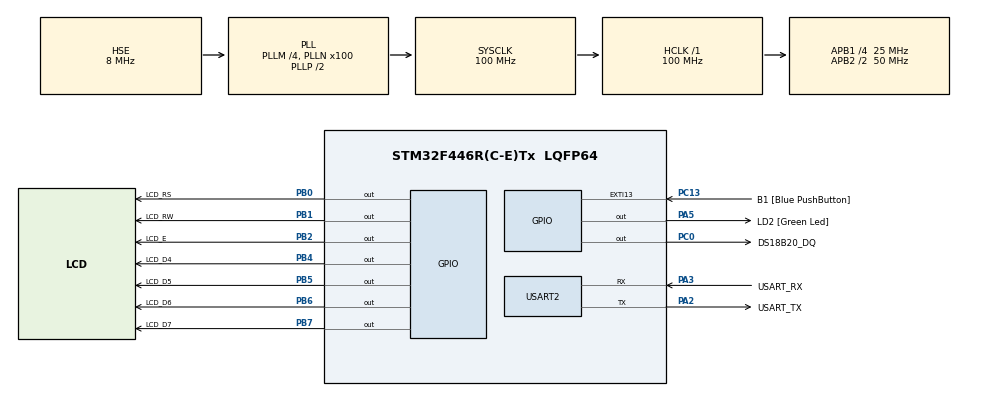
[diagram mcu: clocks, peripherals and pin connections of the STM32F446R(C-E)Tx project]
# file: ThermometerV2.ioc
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Mcu.Family=STM32F4
PH0-OSC_IN.Signal=RCC_OSC_IN
RCC.CortexFreq_Value=100000000
PA14.GPIO_Label=TCK
PC0.GPIO_Label=DS18B20_DQ
VP_RTC_VS_RTC_Activate.Mode=RTC_Enabled
PB0.GPIO_Label=LCD_RS
PB6.GPIO_Label=LCD_D6
PC13.GPIO_Label=B1 [Blue PushButton]
RCC.SYSCLKSource=RCC_SYSCLKSOURCE_PLLCLK
ProjectManager.StackSize=0x400
VP_TIM7_VS_ClockSourceINT.Mode=Enable_Timer
RCC.HCLKFreq_Value=100000000
RCC.APB2TimFreq_Value=100000000
PB6.Signal=GPIO_Output
TIM7.Period=0xffff-1
RCC.AHBFreq_Value=100000000
PH0-OSC_IN.Mode=HSE-External-Oscillator
RCC.HSE_VALUE=8000000
PB2.Signal=GPIO_Output
PC14-OSC32_IN.Mode=LSE-External-Oscillator
PA14.Mode=Serial_Wire
PB1.GPIO_Label=LCD_RW
PB7.Signal=GPIO_Output
TIM6.Period=0xffff-1
RCC.FLatency-AdvancedSettings=FLASH_LATENCY_3
PB7.GPIO_Label=LCD_D7
PH1-OSC_OUT.Mode=HSE-External-Oscillator
Mcu.Package=LQFP64
PB1.Signal=GPIO_Output
USART2.VirtualMode=VM_ASYNC
PA2.GPIO_Label=USART_TX
RCC.APB2CLKDivider=RCC_HCLK_DIV2
PB5.GPIO_Label=LCD_D5
RCC.APB1TimFreq_Value=50000000
PB4.Signal=GPIO_Output
PA3.Signal=USART2_RX
PB3.GPIO_Label=SWO
RCC.PLLSourceVirtual=RCC_PLLSOURCE_HSE
PC15-OSC32_OUT.Mode=LSE-External-Oscillator
PC13.Signal=GPXTI13
TIM6.Prescaler=50-1
VP_TIM6_VS_ClockSourceINT.Mode=Enable_Timer
PC0.Signal=GPIO_Output
RCC.APB1CLKDivider=RCC_HCLK_DIV4
PC14-OSC32_IN.Signal=RCC_OSC32_IN
PA13.Signal=SYS_JTMS-SWDIO
PA3.Mode=Asynchronous
TIM6.AutoReloadPreload=TIM_AUTORELOAD_PRELOAD_DISABLE
ProjectManager.TargetToolchain=Makefile
RCC.USBFreq_Value=100000000
PC15-OSC32_OUT.Signal=RCC_OSC32_OUT
PA5.Signal=GPIO_Output
TIM7.Prescaler=50-1
board=NUCLEO-F446RE
RCC.VCOOutputFreq_Value=200000000
RCC.APB2Freq_Value=50000000
PB4.GPIO_Label=LCD_D4
PH1-OSC_OUT.Signal=RCC_OSC_OUT
RCC.RCC_RTC_Clock_SourceVirtual=RCC_RTCCLKSOURCE_LSE
PA13.Mode=Serial_Wire
Mcu.Name=STM32F446R(C-E)Tx
PA2.Signal=USART2_TX
PA13.GPIO_Label=TMS
RCC.48MHZClocksFreq_Value=84000000
PB3.Signal=SYS_JTDO-SWO
RCC.SYSCLKFreq_VALUE=100000000
PB5.Signal=GPIO_Output
PA5.GPIO_Label=LD2 [Green Led]
PC13.GPIO_ModeDefaultEXTI=GPIO_MODE_IT_FALLING
PA14.Signal=SYS_JTCK-SWCLK
PB2.GPIO_Label=LCD_E
ProjectManager.HeapSize=0x200
RCC.HSI_VALUE=16000000
NVIC.PriorityGroup=NVIC_PRIORITYGROUP_1
RCC.PLLM=4
RCC.PLLN=100
PA2.Mode=Asynchronous
RCC.APB1Freq_Value=25000000
PB0.Signal=GPIO_Output
PA3.GPIO_Label=USART_RX

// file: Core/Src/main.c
/* USER CODE BEGIN Header */
/**
 ******************************************************************************
 * @file           : main.c
 * @brief          : Main program body
 ******************************************************************************
 * @attention
 *
 * <h2><center>&copy; Copyright (c) 2021 STMicroelectronics.
 * All rights reserved.</center></h2>
 *
 * This software component is licensed by ST under BSD 3-Clause license,
 * the "License"; You may not use this file except in compliance with the
 * License. You may obtain a copy of the License at:
 *                        opensource.org/licenses/BSD-3-Clause
 *
 ******************************************************************************
 */
/* USER CODE END Header */
#include "main.h"
#include "rtc.h"
#include "tim.h"
#include "usart.h"
#include "gpio.h"

/* USER CODE BEGIN Includes */
#include "HD44780_LCD.h"
#include "DS18B20.h"
/* USER CODE END Includes */

/* USER CODE BEGIN PV */
extern int DS18B20_state;
/* USER CODE END PV */

void SystemClock_Config(void);

int main(void)
{

  /* MCU Configuration--------------------------------------------------------*/

  /* Reset of all peripherals, Initializes the Flash interface and the Systick. */
  HAL_Init();

  /* Configure the system clock */
  SystemClock_Config();

  /* Initialize all configured peripherals */
  MX_GPIO_Init();
  MX_USART2_UART_Init();
  MX_RTC_Init();
  MX_TIM6_Init();
  MX_TIM7_Init();
  /* USER CODE BEGIN 2 */

  Lcd_PortType ports[] = {LCD_D4_GPIO_Port, LCD_D5_GPIO_Port, LCD_D6_GPIO_Port, LCD_D7_GPIO_Port};

  Lcd_PinType pins[] = {LCD_D4_Pin, LCD_D5_Pin, LCD_D6_Pin, LCD_D7_Pin};

  Lcd_HandleTypeDef lcd = Lcd_create(ports, pins, LCD_RS_GPIO_Port, LCD_RS_Pin, LCD_E_GPIO_Port, LCD_E_Pin, LCD_4_BIT_MODE);

  Lcd_string(&lcd, "Temperature:");

  /* USER CODE END 2 */

  /* Infinite loop */
  /* USER CODE BEGIN WHILE */
  HAL_TIM_Base_Start(&htim6);
  HAL_TIM_Base_Start(&htim7);
  while (1)
  {
    float temperature = DS18B20_Read_Temperature_NB();
    if (temperature == 0xffff)
    {
      Lcd_clear(&lcd);
      Lcd_cursor(&lcd, 0, 0);
      Lcd_string(&lcd, "TMP ERROR");
    }
    else
    {
      Lcd_cursor(&lcd, 1, 0);
      Lcd_float(&lcd, temperature);
    }

    //HAL_Delay(2000);
    /* USER CODE END WHILE */

  }
}

void SystemClock_Config(void)
{
  RCC_OscInitTypeDef RCC_OscInitStruct = {0};
  RCC_ClkInitTypeDef RCC_ClkInitStruct = {0};
  RCC_PeriphCLKInitTypeDef PeriphClkInitStruct = {0};

  /** Configure the main internal regulator output voltage
  */
  __HAL_RCC_PWR_CLK_ENABLE();
  __HAL_PWR_VOLTAGESCALING_CONFIG(PWR_REGULATOR_VOLTAGE_SCALE3);
  /** Initializes the RCC Oscillators according to the specified parameters
  * in the RCC_OscInitTypeDef structure.
  */
  RCC_OscInitStruct.OscillatorType = RCC_OSCILLATORTYPE_HSE | RCC_OSCILLATORTYPE_LSE;
  RCC_OscInitStruct.HSEState = RCC_HSE_ON;
  RCC_OscInitStruct.LSEState = RCC_LSE_ON;
  RCC_OscInitStruct.PLL.PLLState = RCC_PLL_ON;
  RCC_OscInitStruct.PLL.PLLSource = RCC_PLLSOURCE_HSE;
  RCC_OscInitStruct.PLL.PLLM = 4;
  RCC_OscInitStruct.PLL.PLLN = 100;
  RCC_OscInitStruct.PLL.PLLP = RCC_PLLP_DIV2;
  RCC_OscInitStruct.PLL.PLLQ = 2;
  RCC_OscInitStruct.PLL.PLLR = 2;
  if (HAL_RCC_OscConfig(&RCC_OscInitStruct) != HAL_OK)
  {
    Error_Handler();
  }
  /** Initializes the CPU, AHB and APB buses clocks
  */
  RCC_ClkInitStruct.ClockType = RCC_CLOCKTYPE_HCLK | RCC_CLOCKTYPE_SYSCLK | RCC_CLOCKTYPE_PCLK1 | RCC_CLOCKTYPE_PCLK2;
  RCC_ClkInitStruct.SYSCLKSource = RCC_SYSCLKSOURCE_PLLCLK;
  RCC_ClkInitStruct.AHBCLKDivider = RCC_SYSCLK_DIV1;
  RCC_ClkInitStruct.APB1CLKDivider = RCC_HCLK_DIV4;
  RCC_ClkInitStruct.APB2CLKDivider = RCC_HCLK_DIV2;

  if (HAL_RCC_ClockConfig(&RCC_ClkInitStruct, FLASH_LATENCY_3) != HAL_OK)
  {
    Error_Handler();
  }
  PeriphClkInitStruct.PeriphClockSelection = RCC_PERIPHCLK_RTC;
  PeriphClkInitStruct.RTCClockSelection = RCC_RTCCLKSOURCE_LSE;
  if (HAL_RCCEx_PeriphCLKConfig(&PeriphClkInitStruct) != HAL_OK)
  {
    Error_Handler();
  }
}

void Error_Handler(void)
{
  __disable_irq();
  while (1)
  {
  }
}

/************************ (C) COPYRIGHT STMicroelectronics *****END OF FILE****/
